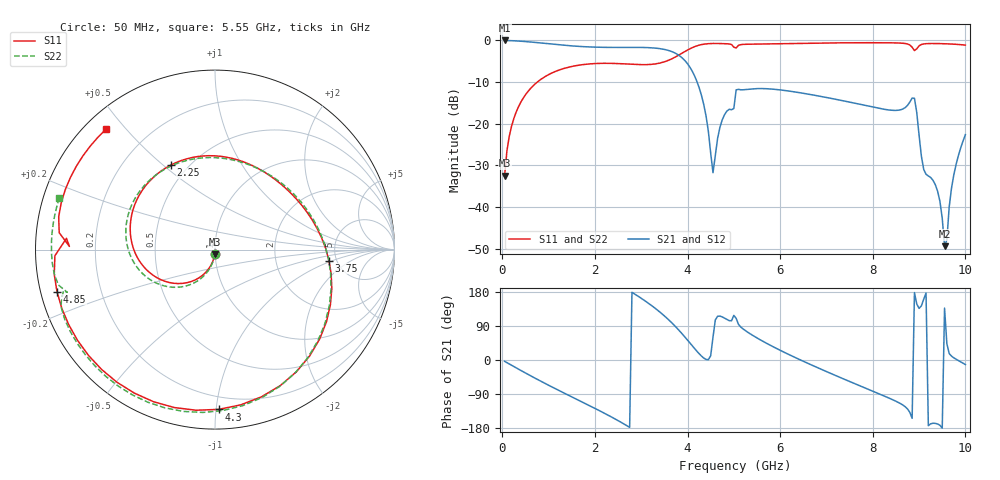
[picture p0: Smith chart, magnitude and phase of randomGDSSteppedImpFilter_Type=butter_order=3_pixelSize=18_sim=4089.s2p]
! freq	dB(S11)	phase(S11)	dB(S12)	phase(S12)
!  dB(S21)	phase(S21)	dB(S22)	phase(S22)
!S-par simulation data
#  GHz  S  DB  R 50
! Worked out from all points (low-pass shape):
!   200 points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, 50 MHz to 10 GHz, reference 50 ohm
!   highest |S21| = -0.01 dB at 50 MHz (marker M1); lowest = -49.4 dB at 9.55 GHz (marker M2)
!   |S21| within 3 dB of the highest: start of sweep to 3.726 GHz
!   lowest |S11| = -32.5 dB at 50 MHz (marker M3), VSWR 1.05, Z = 49.8 - j2.37 ohm
!   |S11| at or under -10 dB: start of sweep to 756.1 MHz
!   |S22| runs from -32.5 to -0.6 dB; largest |S21 - S12| = 0
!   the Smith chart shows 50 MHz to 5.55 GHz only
!   S11 on the Smith chart (normalised r, x): 50 MHz: 1.00, -0.05; 2.25 GHz: 0.40, +0.53; 3.75 GHz: 4.33, -0.89; 4.3 GHz: 0.12, -1.02; 4.85 GHz: 0.05, -0.13; 5.55 GHz: 0.06, +0.44
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0.05  -32.46 -93.5  -0.01 -3.5  -0.01 -3.5  -32.46 -93.1
0.2  -20.59 -105.0  -0.06 -13.9  -0.06 -13.9  -20.59 -103.4
0.5  -13.05 -126.8  -0.27 -34.3  -0.27 -34.3  -13.05 -122.7
1.75  -5.79 150.1  -1.50 -112.3  -1.50 -112.3  -5.79 164.3
2.25  -5.49 117.6  -1.67 -143.4  -1.67 -143.4  -5.49 135.0
2.9  -5.78 72.2  -1.67 170.9  -1.67 170.9  -5.81 89.3
3.4  -5.44 31.6  -1.97 126.8  -1.97 126.8  -5.53 40.9
3.75  -3.90 -5.5  -3.14 87.0  -3.14 87.0  -3.98 -4.1
4.3  -1.01 -88.7  -13.15 10.5  -13.15 10.5  -0.93 -87.2
4.55  -0.73 -126.5  -31.75 60.3  -31.75 60.3  -0.62 -119.6
4.85  -0.81 -165.1  -16.96 107.0  -16.96 107.0  -0.66 -150.3
5.05  -1.82 178.7  -11.86 109.8  -11.86 109.8  -1.34 -163.9
5.55  -0.87 132.1  -11.55 54.7  -11.55 54.7  -0.78 161.6
6.7  -0.66 55.8  -13.07 -14.4  -13.07 -14.4  -0.68 98.5
7.5  -0.57 13.6  -14.81 -56.7  -14.81 -56.7  -0.65 55.8
8.35  -0.57 -26.0  -16.70 -100.4  -16.70 -100.4  -0.69 8.2
8.9  -2.44 -49.7  -13.89 177.9  -13.89 177.9  -2.36 -23.5
9.1  -0.85 -52.4  -30.96 160.5  -30.96 160.5  -0.99 -30.3
9.4  -0.75 -67.6  -36.19 -168.9  -36.19 -168.9  -0.93 -50.4
9.55  -0.80 -74.9  -49.38 136.9  -49.38 136.9  -0.98 -60.1
9.75  -0.90 -84.9  -32.26 5.7  -32.26 5.7  -1.08 -73.5
10  -1.12 -98.8  -22.61 -12.0  -22.61 -12.0  -1.27 -91.1
